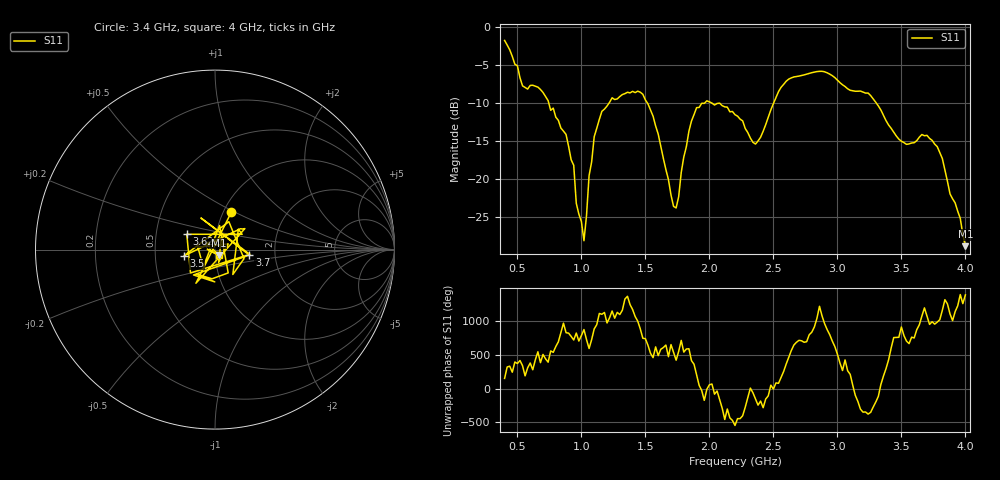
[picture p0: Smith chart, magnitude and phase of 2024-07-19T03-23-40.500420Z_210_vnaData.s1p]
!Created with skrf (http://scikit-rf.org).
# Hz S RI R 50.0
!freq ReS11 ImS11
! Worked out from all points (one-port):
!   181 points, 400 MHz to 4 GHz, reference 50 ohm
!   lowest |S11| = -28.8 dB at 4 GHz (marker M1), VSWR 1.08, Z = 52.1 - j3.06 ohm
!   |S11| at or under -10 dB: 744.8 MHz to 1.217 GHz (471.8 MHz wide, 48.1 % of centre); 2.018 GHz to 2.502 GHz (484.5 MHz wide, 21.4 % of centre); 3.304 GHz to end of sweep (the widest 3 of 4)
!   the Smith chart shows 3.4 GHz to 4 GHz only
!   S11 on the Smith chart (normalised r, x): 3.4 GHz: 1.09, +0.48; 3.5 GHz: 0.70, -0.05; 3.62 GHz: 0.72, +0.13; 3.7 GHz: 1.47, -0.09; 4 GHz: 1.04, -0.06
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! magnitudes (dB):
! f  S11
! 400 MHz  -1.8
! 540 MHz  -7.8
! 680 MHz  -8.2
! 860 MHz  -13.7
! 940 MHz  -18.2
! 960 MHz  -23.2
! 1.02 GHz  -28.1
! 1.1 GHz  -14.4
! 1.16 GHz  -11.1
! 1.3 GHz  -9.2
! 1.48 GHz  -8.9
! 1.6 GHz  -14.1
! 1.72 GHz  -23.6
! 1.76 GHz  -22.3
! 1.84 GHz  -13.7
! 1.9 GHz  -10.6
! 2.2 GHz  -11.5
! 2.36 GHz  -15.4
! 2.66 GHz  -6.6
! 3.1 GHz  -8.3
! 3.24 GHz  -8.7
! 3.4 GHz  -12.9
! 3.5 GHz  -15.0
! 3.56 GHz  -15.4
! 3.62 GHz  -14.9
! 3.7 GHz  -14.3
! 3.82 GHz  -17.3
! 4 GHz  -28.8
